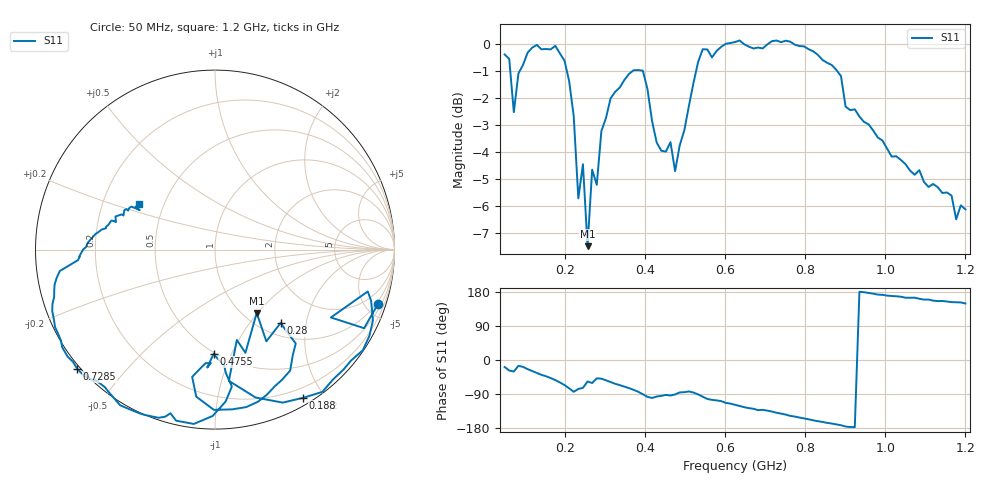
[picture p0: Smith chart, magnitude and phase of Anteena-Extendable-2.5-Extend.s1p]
# HZ S RI R 50
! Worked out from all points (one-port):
!   101 points, 50 MHz to 1.2 GHz, reference 50 ohm
!   lowest |S11| = -7.5 dB at 257 MHz (marker M1), VSWR 2.46, Z = 57.6 - j49.5 ohm
!   |S11| at or under -10 dB: nowhere
!   S11 on the Smith chart (normalised r, x): 50 MHz: 0.83, -6.02; 188 MHz: 0.08, -1.76; 280 MHz: 1.22, -1.44; 475.5 MHz: 0.49, -0.86; 728.5 MHz: -0.01, -0.37; 1.2 GHz: 0.36, +0.24
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5e7  0.9074 -0.304
6.15e7  0.8308 -0.4379
7.3e7  0.6456 -0.3782
8.45e7  0.8511 -0.2333
1.305e8  0.8239 -0.5605
1.88e8  0.492 -0.8255
1.995e8  0.377 -0.8525
2.225e8  0.0775 -0.7314
2.34e8  0.1217 -0.5036
2.455e8  0.1695 -0.5749
2.57e8  0.2325 -0.3529
2.685e8  0.286 -0.5111
2.8e8  0.3654 -0.4095
2.915e8  0.4499 -0.5232
3.375e8  0.333 -0.7616
3.835e8  0.0962 -0.8901
4.065e8  -0.1043 -0.8194
4.755e8  -0.00811 -0.5817
4.87e8  0.0513 -0.6473
5.1e8  0.0941 -0.7628
5.445e8  -0.1179 -0.9713
6.25e8  -0.4762 -0.8895
7.285e8  -0.7679 -0.6646
7.745e8  -0.8575 -0.5092
8.665e8  -0.8937 -0.1951
9.125e8  -0.7537 -0.0401
1.062e9  -0.5612 0.1583
1.2e9  -0.4246 0.2534
